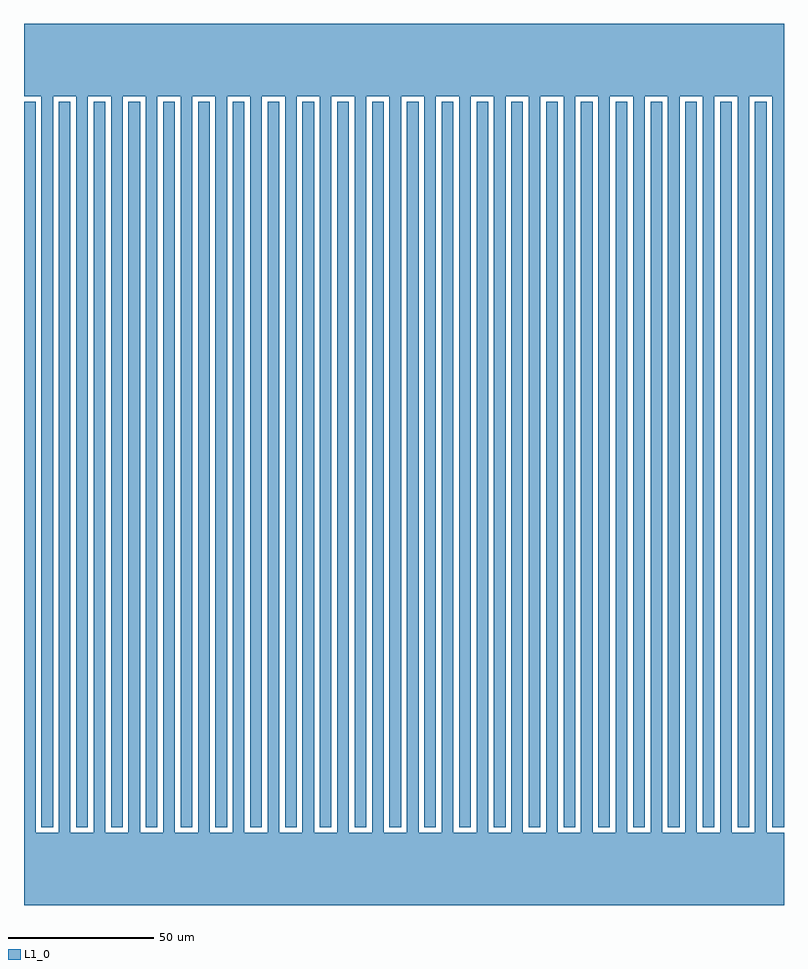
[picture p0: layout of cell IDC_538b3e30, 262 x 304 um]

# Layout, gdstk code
import gdstk
lib = gdstk.Library(unit=1e-6, precision=1e-09)
def R(c, l, rs):  # rectangles x0, y0, x1, y1
    for r in rs: c.add(gdstk.rectangle(r[:2], r[2:], *l))
def A(c, l, x, y, w, h, nx, ny, dx, dy):  # array of equal rectangles
    R(c, l, [(x+i*dx, y+j*dy, x+i*dx+w, y+j*dy+h) for i in range(nx) for j in range(ny)])
L1_0 = (1, 0)

idc_538b3e30 = lib.new_cell('IDC_538b3e30')
A(idc_538b3e30, L1_0, 0, 25, 4, 252, 22, 1, 12, 0)
A(idc_538b3e30, L1_0, 6, 27, 4, 252, 22, 1, 12, 0)
R(idc_538b3e30, L1_0, [(0,0,262,25), (0,279,262,304)])

lib.write_gds('IDC_538b3e30.gds')
